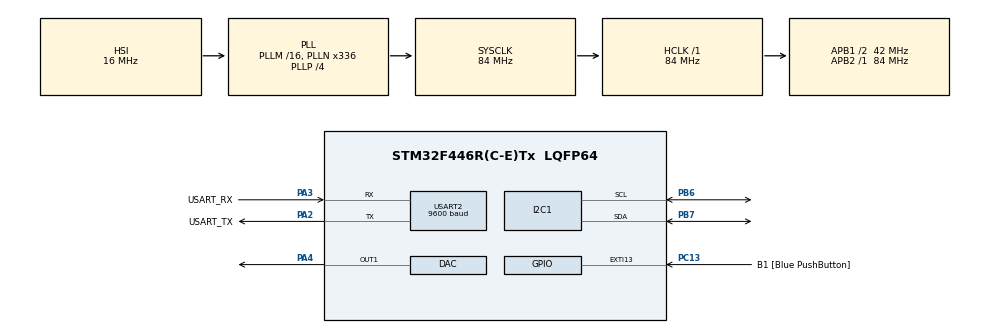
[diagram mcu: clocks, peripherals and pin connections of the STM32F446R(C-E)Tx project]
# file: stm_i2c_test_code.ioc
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DAC.DAC_Trigger=DAC_TRIGGER_T2_TRGO
Dma.DAC1.0.Direction=DMA_MEMORY_TO_PERIPH
Dma.DAC1.0.FIFOMode=DMA_FIFOMODE_DISABLE
Dma.DAC1.0.Instance=DMA1_Stream5
Dma.DAC1.0.MemDataAlignment=DMA_MDATAALIGN_WORD
Dma.DAC1.0.MemInc=DMA_MINC_ENABLE
Dma.DAC1.0.Mode=DMA_CIRCULAR
Dma.DAC1.0.PeriphDataAlignment=DMA_PDATAALIGN_WORD
Dma.DAC1.0.PeriphInc=DMA_PINC_DISABLE
Dma.DAC1.0.Priority=DMA_PRIORITY_HIGH
Dma.Request0=DAC1
FREERTOS.Queues01=FreqQueue,10,int,0,Dynamic,NULL,NULL
FREERTOS.Tasks01=Task1,40,2048,StartTask1,Default,NULL,Dynamic,NULL,NULL;Task2,24,1024,StartTask2,Default,NULL,Dynamic,NULL,NULL;Task3,8,128,StartTask3,Default,NULL,Dynamic,NULL,NULL
FREERTOS.configUSE_NEWLIB_REENTRANT=1
Mcu.Family=STM32F4
Mcu.Name=STM32F446R(C-E)Tx
Mcu.Package=LQFP64
NVIC.DMA1_Stream5_IRQn=true\:5\:0\:false\:false\:true\:true\:false\:true\:true
NVIC.I2C1_ER_IRQn=true\:5\:0\:false\:false\:true\:true\:true\:true\:true
NVIC.I2C1_EV_IRQn=true\:5\:0\:false\:false\:true\:true\:true\:true\:true
NVIC.PriorityGroup=NVIC_PRIORITYGROUP_4
NVIC.TIM6_DAC_IRQn=true\:5\:0\:false\:false\:true\:false\:false\:true\:true
NVIC.TimeBase=TIM6_DAC_IRQn
NVIC.TimeBaseIP=TIM6
NVIC.USART2_IRQn=true\:5\:0\:false\:false\:true\:true\:true\:true\:true
PA13.GPIO_Label=TMS
PA13.Mode=Serial_Wire
PA13.Signal=SYS_JTMS-SWDIO
PA14.GPIO_Label=TCK
PA14.Mode=Serial_Wire
PA14.Signal=SYS_JTCK-SWCLK
PA2.GPIO_Label=USART_TX
PA2.Mode=Asynchronous
PA2.Signal=USART2_TX
PA3.GPIO_Label=USART_RX
PA3.Mode=Asynchronous
PA3.Signal=USART2_RX
PA4.Signal=COMP_DAC1_group
PB3.GPIO_Label=SWO
PB3.Signal=SYS_JTDO-SWO
PB6.Mode=I2C
PB6.Signal=I2C1_SCL
PB7.Mode=I2C
PB7.Signal=I2C1_SDA
PC13.GPIO_Label=B1 [Blue PushButton]
PC13.GPIO_ModeDefaultEXTI=GPIO_MODE_IT_FALLING
PC13.Signal=GPXTI13
PC14-OSC32_IN.Mode=LSE-External-Oscillator
PC14-OSC32_IN.Signal=RCC_OSC32_IN
PC15-OSC32_OUT.Mode=LSE-External-Oscillator
PC15-OSC32_OUT.Signal=RCC_OSC32_OUT
PH0-OSC_IN.Mode=HSE-External-Oscillator
PH0-OSC_IN.Signal=RCC_OSC_IN
PH1-OSC_OUT.Mode=HSE-External-Oscillator
PH1-OSC_OUT.Signal=RCC_OSC_OUT
ProjectManager.HeapSize=0x200
ProjectManager.StackSize=0x400
ProjectManager.TargetToolchain=STM32CubeIDE
RCC.48MHZClocksFreq_Value=84000000
RCC.AHBFreq_Value=84000000
RCC.APB1CLKDivider=RCC_HCLK_DIV2
RCC.APB1Freq_Value=42000000
RCC.APB1TimFreq_Value=84000000
RCC.APB2Freq_Value=84000000
RCC.APB2TimFreq_Value=84000000
RCC.CortexFreq_Value=84000000
RCC.FLatency-AdvancedSettings=FLASH_LATENCY_2
RCC.HCLKFreq_Value=84000000
RCC.HSE_VALUE=8000000
RCC.HSI_VALUE=16000000
RCC.PLLN=336
RCC.PLLP=RCC_PLLP_DIV4
RCC.SYSCLKFreq_VALUE=84000000
RCC.SYSCLKSource=RCC_SYSCLKSOURCE_PLLCLK
RCC.USBFreq_Value=168000000
RCC.VCOOutputFreq_Value=336000000
SH.COMP_DAC1_group.0=DAC_OUT1,DAC_OUT1
TIM2.AutoReloadPreload=TIM_AUTORELOAD_PRELOAD_ENABLE
TIM2.Period=2624
TIM2.Prescaler=999
TIM2.TIM_MasterOutputTrigger=TIM_TRGO_UPDATE
USART2.BaudRate=9600
USART2.VirtualMode=VM_ASYNC
VP_FREERTOS_VS_CMSIS_V2.Mode=CMSIS_V2
VP_SYS_VS_tim6.Mode=TIM6
VP_TIM2_VS_ClockSourceINT.Mode=Internal
board=NUCLEO-F446RE

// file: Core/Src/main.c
/* USER CODE BEGIN Header */
/**
  ******************************************************************************
  * @file           : main.c
  * @brief          : Main program body
  ******************************************************************************
  * @attention
  *
  * Copyright (c) 2026 STMicroelectronics.
  * All rights reserved.
  *
  * This software is licensed under terms that can be found in the LICENSE file
  * in the root directory of this software component.
  * If no LICENSE file comes with this software, it is provided AS-IS.
  *
  ******************************************************************************
  */
/* USER CODE END Header */
#include "main.h"
#include "cmsis_os.h"

/* USER CODE BEGIN Includes */
#include <string.h>

/* USER CODE END Includes */

DAC_HandleTypeDef hdac;
DMA_HandleTypeDef hdma_dac1;

I2C_HandleTypeDef hi2c1;

TIM_HandleTypeDef htim2;

UART_HandleTypeDef huart2;

/* Definitions for Task1 */
osThreadId_t Task1Handle;
const osThreadAttr_t Task1_attributes = {
  .name = "Task1",
  .stack_size = 2048 * 4,
  .priority = (osPriority_t) osPriorityHigh,
};
/* Definitions for Task2 */
osThreadId_t Task2Handle;
const osThreadAttr_t Task2_attributes = {
  .name = "Task2",
  .stack_size = 1024 * 4,
  .priority = (osPriority_t) osPriorityNormal,
};
/* Definitions for Task3 */
osThreadId_t Task3Handle;
const osThreadAttr_t Task3_attributes = {
  .name = "Task3",
  .stack_size = 128 * 4,
  .priority = (osPriority_t) osPriorityLow,
};
/* Definitions for FreqQueue */
osMessageQueueId_t FreqQueueHandle;
const osMessageQueueAttr_t FreqQueue_attributes = {
  .name = "FreqQueue"
};
/* USER CODE BEGIN PV */

uint8_t ADDR = 0x68;
uint8_t ADDR_SHIFT;
uint8_t MEM_ADDR;
uint8_t MEM_ADDR_SIZE = 1;
uint8_t DATA_SIZE = 1;
uint8_t data_var;
uint8_t *good_message = "IC is connected\n";
uint8_t good_message_len;
uint8_t *bad_message = "IC is not connected\n";
uint8_t *isr = "ISR\n";
uint8_t isr_len;
uint8_t bad_mssage_len;
float final_number;
uint8_t print_number;

/* USER CODE END PV */

void SystemClock_Config(void);
static void MX_GPIO_Init(void);
static void MX_DMA_Init(void);
static void MX_USART2_UART_Init(void);
static void MX_DAC_Init(void);
static void MX_TIM2_Init(void);
static void MX_I2C1_Init(void);
void StartTask1(void *argument);
void StartTask2(void *argument);
void StartTask3(void *argument);

/* USER CODE BEGIN 0 */
void serial_message_print(uint8_t *msg, uint8_t msg_len)
{
	HAL_UART_Transmit(&huart2, msg, msg_len, 1000);
	osDelay(1);
}

void IC_read_data(uint8_t ADDR, float *accel)
{
	static uint8_t DATA_ARR_SIZE = 6;
	uint8_t data_array[DATA_ARR_SIZE];
	static uint8_t DATA_ADDR = 0x3B;
	float ACCEL_DIVISION = 16384.0;

	HAL_I2C_Mem_Read_IT(&hi2c1, ADDR, DATA_ADDR, 1, data_array, DATA_ARR_SIZE);

	uint16_t accel_x_raw  = data_array[0] << 8 | data_array[1];
	float accel_x = (float)(accel_x_raw / ACCEL_DIVISION);
	*accel = accel_x;

}

/* USER CODE END 0 */

int main(void)
{

  /* MCU Configuration--------------------------------------------------------*/

  /* Reset of all peripherals, Initializes the Flash interface and the Systick. */
  HAL_Init();

  /* Configure the system clock */
  SystemClock_Config();

  /* Initialize all configured peripherals */
  MX_GPIO_Init();
  MX_DMA_Init();
  MX_USART2_UART_Init();
  MX_DAC_Init();
  MX_TIM2_Init();
  MX_I2C1_Init();

  /* Init scheduler */
  osKernelInitialize();

  /* Create the queue(s) */
  /* creation of FreqQueue */
  FreqQueueHandle = osMessageQueueNew (10, sizeof(int), &FreqQueue_attributes);

  /* Create the thread(s) */
  /* creation of Task1 */
  Task1Handle = osThreadNew(StartTask1, NULL, &Task1_attributes);

  /* creation of Task2 */
  Task2Handle = osThreadNew(StartTask2, NULL, &Task2_attributes);

  /* creation of Task3 */
  Task3Handle = osThreadNew(StartTask3, NULL, &Task3_attributes);

  /* Start scheduler */
  osKernelStart();

  /* We should never get here as control is now taken by the scheduler */

  /* Infinite loop */
  while (1)
  {

  }
}

void SystemClock_Config(void)
{
  RCC_OscInitTypeDef RCC_OscInitStruct = {0};
  RCC_ClkInitTypeDef RCC_ClkInitStruct = {0};

  /** Configure the main internal regulator output voltage
  */
  __HAL_RCC_PWR_CLK_ENABLE();
  __HAL_PWR_VOLTAGESCALING_CONFIG(PWR_REGULATOR_VOLTAGE_SCALE3);

  /** Initializes the RCC Oscillators according to the specified parameters
  * in the RCC_OscInitTypeDef structure.
  */
  RCC_OscInitStruct.OscillatorType = RCC_OSCILLATORTYPE_HSI;
  RCC_OscInitStruct.HSIState = RCC_HSI_ON;
  RCC_OscInitStruct.HSICalibrationValue = RCC_HSICALIBRATION_DEFAULT;
  RCC_OscInitStruct.PLL.PLLState = RCC_PLL_ON;
  RCC_OscInitStruct.PLL.PLLSource = RCC_PLLSOURCE_HSI;
  RCC_OscInitStruct.PLL.PLLM = 16;
  RCC_OscInitStruct.PLL.PLLN = 336;
  RCC_OscInitStruct.PLL.PLLP = RCC_PLLP_DIV4;
  RCC_OscInitStruct.PLL.PLLQ = 2;
  RCC_OscInitStruct.PLL.PLLR = 2;
  if (HAL_RCC_OscConfig(&RCC_OscInitStruct) != HAL_OK)
  {
    Error_Handler();
  }

  /** Initializes the CPU, AHB and APB buses clocks
  */
  RCC_ClkInitStruct.ClockType = RCC_CLOCKTYPE_HCLK|RCC_CLOCKTYPE_SYSCLK
                              |RCC_CLOCKTYPE_PCLK1|RCC_CLOCKTYPE_PCLK2;
  RCC_ClkInitStruct.SYSCLKSource = RCC_SYSCLKSOURCE_PLLCLK;
  RCC_ClkInitStruct.AHBCLKDivider = RCC_SYSCLK_DIV1;
  RCC_ClkInitStruct.APB1CLKDivider = RCC_HCLK_DIV2;
  RCC_ClkInitStruct.APB2CLKDivider = RCC_HCLK_DIV1;

  if (HAL_RCC_ClockConfig(&RCC_ClkInitStruct, FLASH_LATENCY_2) != HAL_OK)
  {
    Error_Handler();
  }
}

static void MX_DAC_Init(void)
{

  DAC_ChannelConfTypeDef sConfig = {0};

  /** DAC Initialization
  */
  hdac.Instance = DAC;
  if (HAL_DAC_Init(&hdac) != HAL_OK)
  {
    Error_Handler();
  }

  /** DAC channel OUT1 config
  */
  sConfig.DAC_Trigger = DAC_TRIGGER_T2_TRGO;
  sConfig.DAC_OutputBuffer = DAC_OUTPUTBUFFER_ENABLE;
  if (HAL_DAC_ConfigChannel(&hdac, &sConfig, DAC_CHANNEL_1) != HAL_OK)
  {
    Error_Handler();
  }

}

static void MX_I2C1_Init(void)
{

  hi2c1.Instance = I2C1;
  hi2c1.Init.ClockSpeed = 100000;
  hi2c1.Init.DutyCycle = I2C_DUTYCYCLE_2;
  hi2c1.Init.OwnAddress1 = 0;
  hi2c1.Init.AddressingMode = I2C_ADDRESSINGMODE_7BIT;
  hi2c1.Init.DualAddressMode = I2C_DUALADDRESS_DISABLE;
  hi2c1.Init.OwnAddress2 = 0;
  hi2c1.Init.GeneralCallMode = I2C_GENERALCALL_DISABLE;
  hi2c1.Init.NoStretchMode = I2C_NOSTRETCH_DISABLE;
  if (HAL_I2C_Init(&hi2c1) != HAL_OK)
  {
    Error_Handler();
  }

}

static void MX_TIM2_Init(void)
{

  TIM_ClockConfigTypeDef sClockSourceConfig = {0};
  TIM_MasterConfigTypeDef sMasterConfig = {0};

  htim2.Instance = TIM2;
  htim2.Init.Prescaler = 999;
  htim2.Init.CounterMode = TIM_COUNTERMODE_UP;
  htim2.Init.Period = 2624;
  htim2.Init.ClockDivision = TIM_CLOCKDIVISION_DIV1;
  htim2.Init.AutoReloadPreload = TIM_AUTORELOAD_PRELOAD_ENABLE;
  if (HAL_TIM_Base_Init(&htim2) != HAL_OK)
  {
    Error_Handler();
  }
  sClockSourceConfig.ClockSource = TIM_CLOCKSOURCE_INTERNAL;
  if (HAL_TIM_ConfigClockSource(&htim2, &sClockSourceConfig) != HAL_OK)
  {
    Error_Handler();
  }
  sMasterConfig.MasterOutputTrigger = TIM_TRGO_UPDATE;
  sMasterConfig.MasterSlaveMode = TIM_MASTERSLAVEMODE_DISABLE;
  if (HAL_TIMEx_MasterConfigSynchronization(&htim2, &sMasterConfig) != HAL_OK)
  {
    Error_Handler();
  }

}

static void MX_USART2_UART_Init(void)
{

  huart2.Instance = USART2;
  huart2.Init.BaudRate = 9600;
  huart2.Init.WordLength = UART_WORDLENGTH_8B;
  huart2.Init.StopBits = UART_STOPBITS_1;
  huart2.Init.Parity = UART_PARITY_NONE;
  huart2.Init.Mode = UART_MODE_TX_RX;
  huart2.Init.HwFlowCtl = UART_HWCONTROL_NONE;
  huart2.Init.OverSampling = UART_OVERSAMPLING_16;
  if (HAL_UART_Init(&huart2) != HAL_OK)
  {
    Error_Handler();
  }

}

static void MX_DMA_Init(void)
{

  /* DMA controller clock enable */
  __HAL_RCC_DMA1_CLK_ENABLE();

  /* DMA interrupt init */
  /* DMA1_Stream5_IRQn interrupt configuration */
  HAL_NVIC_SetPriority(DMA1_Stream5_IRQn, 5, 0);
  HAL_NVIC_EnableIRQ(DMA1_Stream5_IRQn);

}

static void MX_GPIO_Init(void)
{
  GPIO_InitTypeDef GPIO_InitStruct = {0};

  /* GPIO Ports Clock Enable */
  __HAL_RCC_GPIOC_CLK_ENABLE();
  __HAL_RCC_GPIOH_CLK_ENABLE();
  __HAL_RCC_GPIOA_CLK_ENABLE();
  __HAL_RCC_GPIOB_CLK_ENABLE();

  /*Configure GPIO pin : B1_Pin */
  GPIO_InitStruct.Pin = B1_Pin;
  GPIO_InitStruct.Mode = GPIO_MODE_IT_FALLING;
  GPIO_InitStruct.Pull = GPIO_NOPULL;
  HAL_GPIO_Init(B1_GPIO_Port, &GPIO_InitStruct);

}

void StartTask1(void *argument)
{
  /* USER CODE BEGIN 5 */
  /* Infinite loop */
	ADDR_SHIFT = ADDR << 1;
	good_message_len = strlen(good_message);
	bad_mssage_len = strlen(bad_message);
	isr_len = strlen(isr);
	serial_message_print(good_message, good_message_len);
	HAL_StatusTypeDef check;

	MEM_ADDR = 0x75;
	check = HAL_I2C_Mem_Read(&hi2c1, 0x68 << 1, 0x75, 1, &data_var, 1, 1000);
	serial_message_print(good_message, good_message_len);
	serial_message_print(&data_var, 1);

	if (data_var == 0x68)
	{
		serial_message_print(good_message, good_message_len);
	}
	else
	{
		serial_message_print(bad_message, bad_mssage_len);

	}

	if (check == HAL_BUSY)
	{
		serial_message_print(isr, isr_len);
	}

	///IC Config start
	data_var = 0;
	MEM_ADDR = 0x6B;
	HAL_I2C_Mem_Write_IT(&hi2c1, ADDR_SHIFT, MEM_ADDR, MEM_ADDR_SIZE, &data_var, DATA_SIZE);

	data_var = 0x07;
	MEM_ADDR = 0x19;
	HAL_I2C_Mem_Write_IT(&hi2c1, ADDR_SHIFT, MEM_ADDR, MEM_ADDR_SIZE, &data_var, DATA_SIZE);

	data_var = 0;
	MEM_ADDR = 0x1B;
	HAL_I2C_Mem_Write_IT(&hi2c1, ADDR_SHIFT, MEM_ADDR, MEM_ADDR_SIZE, &data_var, DATA_SIZE);
	MEM_ADDR = 0x1C;
	HAL_I2C_Mem_Write_IT(&hi2c1, ADDR_SHIFT, MEM_ADDR, MEM_ADDR_SIZE, &data_var, DATA_SIZE);

	///IC Config complete

  for(;;)
  {

	  IC_read_data(ADDR_SHIFT, &final_number);
	  print_number = (uint8_t)final_number;
	  serial_message_print(&print_number, sizeof(print_number));

	  osDelay(2000);
  }
  /* USER CODE END 5 */
}

void StartTask2(void *argument)
{
  for(;;)
  {
    osDelay(1);
  }
}

void StartTask3(void *argument)
{
  for(;;)
  {
    osDelay(1);
  }
}

void HAL_TIM_PeriodElapsedCallback(TIM_HandleTypeDef *htim)
{
  if (htim->Instance == TIM6)
  {
    HAL_IncTick();
  }
}

void Error_Handler(void)
{
  __disable_irq();
  while (1)
  {
  }
}
